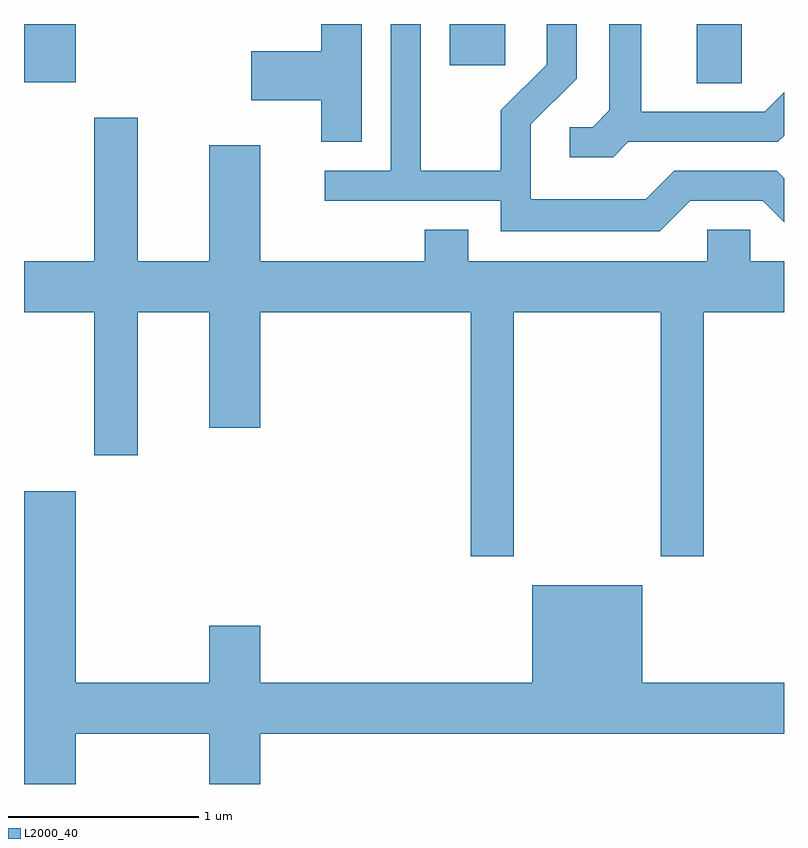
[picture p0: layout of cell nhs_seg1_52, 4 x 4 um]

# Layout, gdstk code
import gdstk
lib = gdstk.Library(unit=1e-6, precision=1e-09)
def R(c, l, rs):  # rectangles x0, y0, x1, y1
    for r in rs: c.add(gdstk.rectangle(r[:2], r[2:], *l))
def P(c, l, *ps):  # polygons
    for p in ps: c.add(gdstk.Polygon(p, *l))
L2000_40 = (2000, 40)

nhs_seg1_52 = lib.new_cell('nhs_seg1_52')
R(nhs_seg1_52, L2000_40, [(189.151,947.401,189.389,947.712), (185.611,947.406,185.884,947.712), (187.851,947.496,188.144,947.712)])
P(nhs_seg1_52, L2000_40, [(187.389,947.712),(187.176,947.712),(187.176,947.569),(186.806,947.569),(186.806,947.311),(187.176,947.311),(187.176,947.091),(187.389,947.091)],
  [(189.117,946.781),(189.499,946.781),(189.611,946.669),(189.611,946.9),(189.572,946.939),(189.034,946.939),(188.884,946.789),(188.279,946.789),(188.279,947.184),(188.519,947.424),(188.519,947.712),(188.361,947.712),(188.361,947.497),(188.121,947.257),(188.121,946.939),(187.699,946.939),(187.699,947.712),(187.541,947.712),(187.541,946.939),(187.193,946.939),(187.193,946.781),(188.121,946.781),(188.121,946.621),(188.957,946.621)],
  [(188.792,947.091),(189.577,947.091),(189.611,947.125),(189.611,947.352),(189.509,947.249),(188.859,947.249),(188.859,947.712),(188.691,947.712),(188.691,947.257),(188.604,947.169),(188.483,947.169),(188.483,947.011),(188.712,947.011)],
  [(188.189,946.196),(188.961,946.196),(188.961,944.911),(189.189,944.911),(189.189,946.196),(189.611,946.196),(189.611,946.464),(189.434,946.464),(189.434,946.629),(189.206,946.629),(189.206,946.464),(187.949,946.464),(187.949,946.629),(187.721,946.629),(187.721,946.464),(186.854,946.464),(186.854,947.074),(186.586,947.074),(186.586,946.464),(186.209,946.464),(186.209,947.219),(185.981,947.219),(185.981,946.464),(185.611,946.464),(185.611,946.196),(185.981,946.196),(185.981,945.441),(186.209,945.441),(186.209,946.196),(186.586,946.196),(186.586,945.586),(186.854,945.586),(186.854,946.196),(187.961,946.196),(187.961,944.911),(188.189,944.911)],
  [(185.884,943.976),(186.586,943.976),(186.586,943.712),(186.854,943.712),(186.854,943.976),(189.611,943.976),(189.611,944.244),(188.864,944.244),(188.864,944.759),(188.286,944.759),(188.286,944.244),(186.854,944.244),(186.854,944.544),(186.586,944.544),(186.586,944.244),(185.884,944.244),(185.884,945.254),(185.611,945.254),(185.611,943.712),(185.884,943.712)])

lib.write_gds('nhs_seg1_52.gds')
